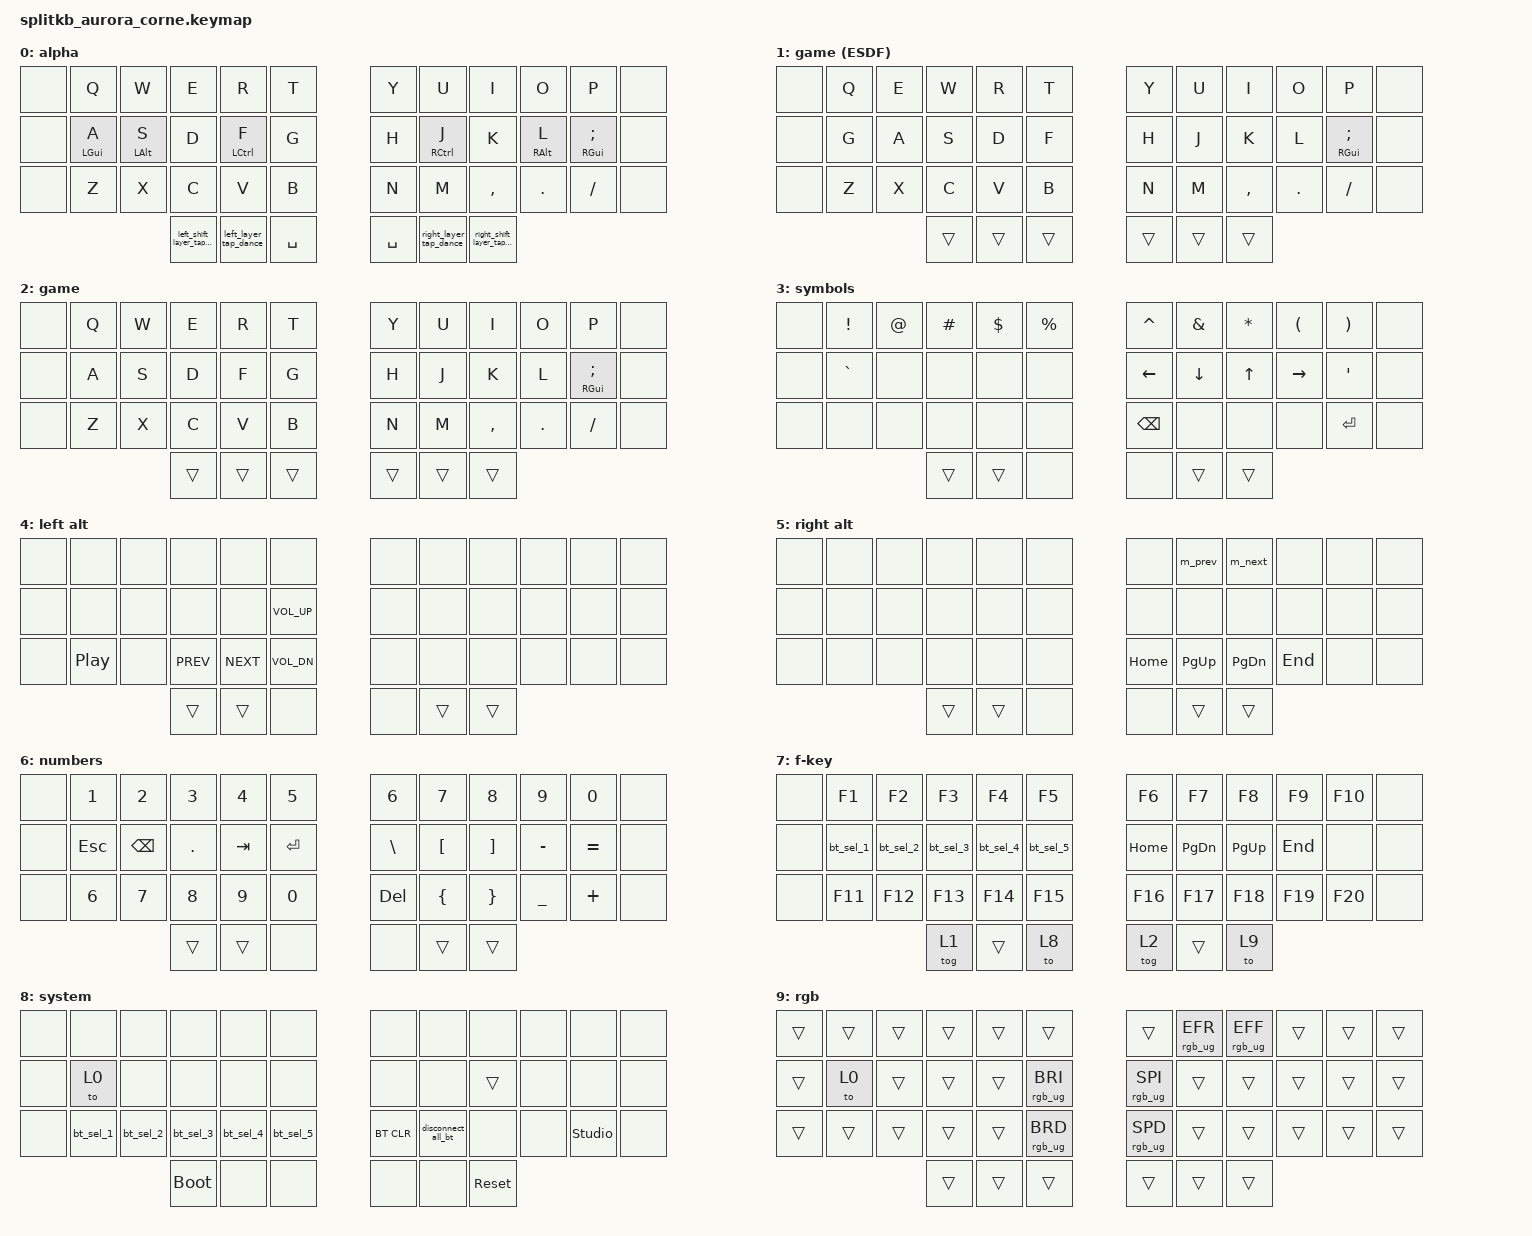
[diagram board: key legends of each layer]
/*
 * Copyright (c) 2020 The ZMK Contributors
 *
 * SPDX-License-Identifier: MIT
 */

#include <behaviors.dtsi>
#include <dt-bindings/zmk/bt.h>
#include <dt-bindings/zmk/keys.h>
#include <dt-bindings/zmk/rgb.h>

&caps_word { continue-list = <UNDERSCORE MINUS BACKSPACE DELETE>; };

/ {
    conditional_layers {
        compatible = "zmk,conditional-layers";

        f-key {
            if-layers = <6 3>;
            then-layer = <7>;
        };
    };

    macros {
        m_next: m_next {
            label = "M_NEXT";
            compatible = "zmk,behavior-macro";
            #binding-cells = <0>;
            bindings =
                <&macro_press>,
                <&kp RC(TAB)>,
                <&macro_release>,
                <&kp RC(TAB)>;
        };

        m_prev: m_prev {
            label = "M_PREV";
            compatible = "zmk,behavior-macro";
            #binding-cells = <0>;
            bindings =
                <&macro_press>,
                <&kp LC(LS(TAB))>,
                <&macro_release>,
                <&kp LC(LS(TAB))>;
        };

        disconnect_all_bt: disconnect_all_bt {
            compatible = "zmk,behavior-macro";
            #binding-cells = <0>;
            bindings = <&bt BT_DISC 0 &bt BT_DISC 1 &bt BT_DISC 2 &bt BT_DISC 3 &bt BT_DISC 4>;
            label = "DISCONNECT_ALL_BT";
        };

        bt_sel_1: bt_sel_1 {
            compatible = "zmk,behavior-macro";
            #binding-cells = <0>;
            bindings =
                <&disconnect_all_bt>,
                <&macro_pause_for_release>,
                <&bt BT_SEL 0>;

            label = "BT_SEL_1";
        };

        bt_sel_2: bt_sel_2 {
            compatible = "zmk,behavior-macro";
            #binding-cells = <0>;
            bindings =
                <&disconnect_all_bt>,
                <&macro_pause_for_release>,
                <&bt BT_SEL 1>;

            label = "BT_SEL_2";
        };

        bt_sel_3: bt_sel_3 {
            compatible = "zmk,behavior-macro";
            #binding-cells = <0>;
            bindings =
                <&disconnect_all_bt>,
                <&macro_pause_for_release>,
                <&bt BT_SEL 2>;

            label = "BT_SEL_3";
        };

        bt_sel_4: bt_sel_4 {
            compatible = "zmk,behavior-macro";
            #binding-cells = <0>;
            bindings =
                <&disconnect_all_bt>,
                <&macro_pause_for_release>,
                <&bt BT_SEL 3>;

            label = "BT_SEL_4";
        };

        bt_sel_5: bt_sel_5 {
            compatible = "zmk,behavior-macro";
            #binding-cells = <0>;
            bindings =
                <&disconnect_all_bt>,
                <&macro_pause_for_release>,
                <&bt BT_SEL 4>;

            label = "BT_SEL_5";
        };
    };

    behaviors {
        left_homerow_mod: left_homerow_mod {
            compatible = "zmk,behavior-hold-tap";
            #binding-cells = <2>;
            label = "LEFT_HOMEROW_MOD";
            flavor = "balanced";
            require-prior-idle-ms = <150>;
            tapping-term-ms = <250>;
            quick-tap-ms = <125>;
            bindings = <&kp>, <&kp>;

            hold-trigger-key-positions = <6 7 8 9 10 11 18 19 20 21 22 23 30 31 32 33 34 35 36 37 38 39 40 41>;

            // right-hand keys + thumb cluster

            hold-trigger-on-release;
        };

        right_homerow_mod: right_homerow_mod {
            compatible = "zmk,behavior-hold-tap";
            #binding-cells = <2>;
            label = "RIGHT_HOMEROW_MOD";
            flavor = "balanced";
            require-prior-idle-ms = <150>;
            tapping-term-ms = <250>;
            quick-tap-ms = <125>;
            bindings = <&kp>, <&kp>;

            hold-trigger-key-positions = <0 1 2 3 4 5 12 13 14 15 16 17 24 25 26 27 28 29 36 37 38 39 40 41>;

            // left-hand keys + thumb cluster

            hold-trigger-on-release;
        };

        right_shift_layer_tap_dance: right_shift_layer_tap_dance {
            compatible = "zmk,behavior-tap-dance";
            label = "RIGHT_SHIFT_LAYER_TAP_DANCE";
            #binding-cells = <0>;
            bindings = <&kp RSHFT>, <&caps_word>;

            tapping-term-ms = <350>;
        };

        left_shift_layer_tap_dance: left_shift_layer_tap_dance {
            compatible = "zmk,behavior-tap-dance";
            label = "LEFT_SHIFT_LAYER_TAP_DANCE";
            #binding-cells = <0>;
            bindings = <&kp LSHFT>, <&caps_word>;

            tapping-term-ms = <350>;
        };

        left_layer_tap_dance: left_layer_tap_dance {
            compatible = "zmk,behavior-tap-dance";
            label = "LEFT_LAYER_TAP_DANCE";
            #binding-cells = <0>;
            bindings = <&mo 6>, <&mo 4>;

            tapping-term-ms = <350>;
        };

        right_layer_tap_dance: right_layer_tap_dance {
            compatible = "zmk,behavior-tap-dance";
            label = "RIGHT_LAYER_TAP_DANCE";
            #binding-cells = <0>;
            tapping-term-ms = <350>;
            bindings = <&mo 3>, <&mo 5>;
        };
    };

    combos {
        compatible = "zmk,combos";

        left_globe {
            bindings = <&kp GLOBE>;
            key-positions = <37 38>;
        };

        right_globe {
            bindings = <&kp GLOBE>;
            key-positions = <39 40>;
        };
    };

    keymap {
        compatible = "zmk,keymap";

        alpha {
            display-name = "alpha";
            bindings = <
&none  &kp Q                     &kp W                     &kp E                        &kp R                      &kp T        &kp Y      &kp U                       &kp I                         &kp O                      &kp P                         &none
&none  &left_homerow_mod LGUI A  &left_homerow_mod LALT S  &kp D                        &left_homerow_mod LCTRL F  &kp G        &kp H      &right_homerow_mod RCTRL J  &kp K                         &right_homerow_mod RALT L  &right_homerow_mod RGUI SEMI  &none
&none  &kp Z                     &kp X                     &kp C                        &kp V                      &kp B        &kp N      &kp M                       &kp COMMA                     &kp DOT                    &kp FSLH                      &none
                                                           &left_shift_layer_tap_dance  &left_layer_tap_dance      &kp SPACE    &kp SPACE  &right_layer_tap_dance      &right_shift_layer_tap_dance
            >;

            label = "alpha";
        };

        Game-EDSF {
            display-name = "game (ESDF)";
            bindings = <
&none  &kp Q  &kp E  &kp W   &kp R   &kp T     &kp Y   &kp U   &kp I      &kp O    &kp P                         &none
&none  &kp G  &kp A  &kp S   &kp D   &kp F     &kp H   &kp J   &kp K      &kp L    &right_homerow_mod RGUI SEMI  &none
&none  &kp Z  &kp X  &kp C   &kp V   &kp B     &kp N   &kp M   &kp COMMA  &kp DOT  &kp FSLH                      &none
                     &trans  &trans  &trans    &trans  &trans  &trans
            >;
        };

        game {
            display-name = "game";
            bindings = <
&none  &kp Q  &kp W  &kp E   &kp R   &kp T     &kp Y   &kp U   &kp I      &kp O    &kp P                         &none
&none  &kp A  &kp S  &kp D   &kp F   &kp G     &kp H   &kp J   &kp K      &kp L    &right_homerow_mod RGUI SEMI  &none
&none  &kp Z  &kp X  &kp C   &kp V   &kp B     &kp N   &kp M   &kp COMMA  &kp DOT  &kp FSLH                      &none
                     &trans  &trans  &trans    &trans  &trans  &trans
            >;
        };

        symbols {
            display-name = "symbols";
            bindings = <
&none  &kp EXCL   &kp AT  &kp POUND  &kp DOLLAR  &kp PERCENT    &kp CARET       &kp AMPS  &kp ASTERISK  &kp LPAR   &kp RPAR   &none
&none  &kp GRAVE  &none   &none      &none       &none          &kp LEFT_ARROW  &kp DOWN  &kp UP        &kp RIGHT  &kp APOS   &none
&none  &none      &none   &none      &none       &none          &kp BACKSPACE   &none     &none         &none      &kp ENTER  &none
                          &trans     &trans      &none          &none           &trans    &trans
            >;
        };

        left_alt {
            display-name = "left alt";
            bindings = <
&none  &none             &none  &none       &none       &none           &none  &none   &none   &none  &none  &none
&none  &none             &none  &none       &none       &kp C_VOL_UP    &none  &none   &none   &none  &none  &none
&none  &kp C_PLAY_PAUSE  &none  &kp C_PREV  &kp C_NEXT  &kp C_VOL_DN    &none  &none   &none   &none  &none  &none
                                &trans      &trans      &none           &none  &trans  &trans
            >;
        };

        right_alt {
            display-name = "right alt";
            bindings = <
&none  &none  &none  &none   &none   &none    &none     &m_prev    &m_next    &none    &none  &none
&none  &none  &none  &none   &none   &none    &none     &none      &none      &none    &none  &none
&none  &none  &none  &none   &none   &none    &kp HOME  &kp PG_UP  &kp PG_DN  &kp END  &none  &none
                     &trans  &trans  &none    &none     &trans     &trans
            >;
        };

        numbers {
            display-name = "numbers";
            bindings = <
&none  &kp N1        &kp N2         &kp N3      &kp N4   &kp N5       &kp N6         &kp N7            &kp N8             &kp N9     &kp N0     &none
&none  &kp ESC       &kp BACKSPACE  &kp PERIOD  &kp TAB  &kp ENTER    &kp BACKSLASH  &kp LEFT_BRACKET  &kp RIGHT_BRACKET  &kp MINUS  &kp EQUAL  &none
&none  &kp NUMBER_6  &kp N7         &kp N8      &kp N9   &kp N0       &kp DELETE     &kp LEFT_BRACE    &kp RIGHT_BRACE    &kp UNDER  &kp PLUS   &none
                                    &trans      &trans   &none        &none          &trans            &trans
            >;
        };

        f-key {
            display-name = "f-key";
            bindings = <
&none  &kp F1     &kp F2     &kp F3     &kp F4     &kp F5       &kp F6    &kp F7         &kp F8       &kp F9   &kp F10  &none
&none  &bt_sel_1  &bt_sel_2  &bt_sel_3  &bt_sel_4  &bt_sel_5    &kp HOME  &kp PAGE_DOWN  &kp PAGE_UP  &kp END  &none    &none
&none  &kp F11    &kp F12    &kp F13    &kp F14    &kp F15      &kp F16   &kp F17        &kp F18      &kp F19  &kp F20  &none
                             &tog 1     &trans     &to 8        &tog 2    &trans         &to 9
            >;
        };

        system {
            bindings = <
&none  &none      &none      &none        &none      &none        &none       &none               &none       &none  &none           &none
&none  &to 0      &none      &none        &none      &none        &none       &none               &trans      &none  &none           &none
&none  &bt_sel_1  &bt_sel_2  &bt_sel_3    &bt_sel_4  &bt_sel_5    &bt BT_CLR  &disconnect_all_bt  &none       &none  &studio_unlock  &none
                             &bootloader  &none      &none        &none       &none               &sys_reset
            >;

            label = "system";
        };

        rgb {
            display-name = "rgb";
            bindings = <
&trans  &trans  &trans  &trans  &trans  &trans             &trans           &rgb_ug RGB_EFR  &rgb_ug RGB_EFF  &trans  &trans  &trans
&trans  &to 0   &trans  &trans  &trans  &rgb_ug RGB_BRI    &rgb_ug RGB_SPI  &trans           &trans           &trans  &trans  &trans
&trans  &trans  &trans  &trans  &trans  &rgb_ug RGB_BRD    &rgb_ug RGB_SPD  &trans           &trans           &trans  &trans  &trans
                        &trans  &trans  &trans             &trans           &trans           &trans
            >;
        };
    };
};
